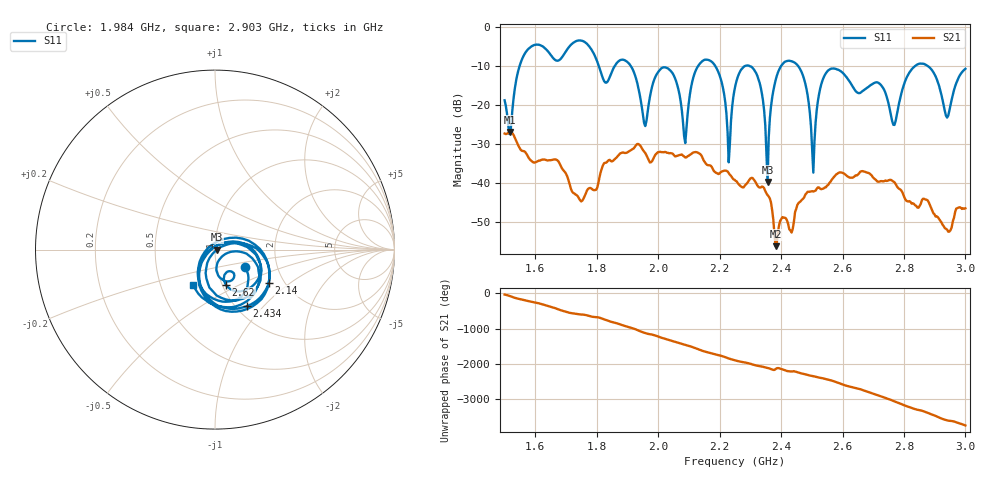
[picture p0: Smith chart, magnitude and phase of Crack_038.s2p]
# HZ S RI R 50
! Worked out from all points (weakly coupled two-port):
!   404 points, 1.5 GHz to 3 GHz, reference 50 ohm
!   highest |S21| = -26.93 dB at 1.519 GHz (marker M1); lowest = -56.1 dB at 2.382 GHz (marker M2)
!   lowest |S11| = -39.7 dB at 2.356 GHz (marker M3), VSWR 1.02, Z = 51 - j0.00676 ohm
!   |S11| at or under -10 dB: 1.91 GHz to 2.13 GHz (220 MHz wide, 10.9 % of centre); 2.455 GHz to 2.837 GHz (381.8 MHz wide, 14.4 % of centre); 2.877 GHz to end of sweep (the widest 3 of 7)
!   S12 and S22 are empty: the file has one direction only
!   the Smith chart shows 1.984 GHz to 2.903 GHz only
!   S11 on the Smith chart (normalised r, x): 1.984 GHz: 1.37, -0.28; 2.14 GHz: 1.67, -0.71; 2.434 GHz: 1.12, -0.81; 2.62 GHz: 1.04, -0.43; 2.903 GHz: 0.73, -0.30
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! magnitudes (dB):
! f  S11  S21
! 1.5 GHz  -18.8  -27.3
! 1.519 GHz  -27.4  -26.9
! 1.574 GHz  -5.9  -33.0
! 1.753 GHz  -3.6  -44.5
! 1.958 GHz  -25.4  -32.3
! 1.984 GHz  -14.2  -33.8
! 2.002 GHz  -11.3  -32.1
! 2.088 GHz  -29.8  -33.4
! 2.14 GHz  -9.0  -32.9
! 2.23 GHz  -34.7  -37.4
! 2.252 GHz  -14.8  -39.4
! 2.315 GHz  -11.4  -39.5
! 2.356 GHz  -39.7  -43.1
! 2.382 GHz  -13.7  -56.1
! 2.434 GHz  -8.8  -52.6
! 2.501 GHz  -31.5  -42.1
! 2.546 GHz  -11.9  -41.1
! 2.62 GHz  -13.7  -38.5
! 2.751 GHz  -19.9  -39.3
! 2.903 GHz  -12.7  -48.6
! 2.94 GHz  -23.2  -51.9
! 3 GHz  -10.8  -46.4
